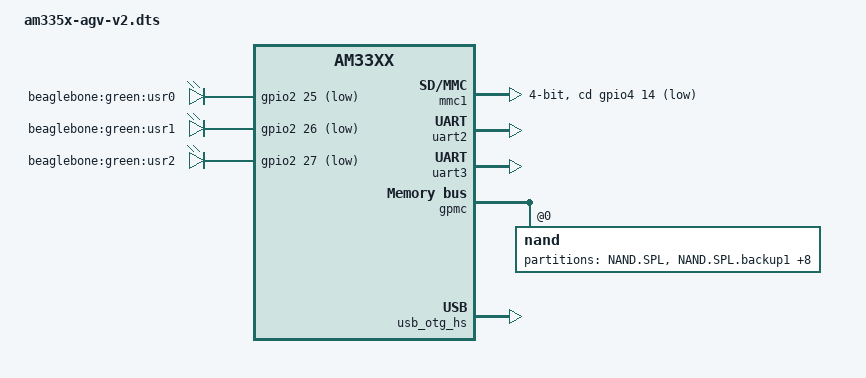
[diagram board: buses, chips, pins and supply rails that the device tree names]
/*
 * Copyright (C) 2012 Texas Instruments Incorporated - http://www.ti.com/
 *
 * This program is free software; you can redistribute it and/or modify
 * it under the terms of the GNU General Public License version 2 as
 * published by the Free Software Foundation.
 */
/dts-v1/;

/include/ "am33xx.dtsi"

/include/ "am335x-agv-common.dtsi"

&cpu {
	/*
	 * To consider voltage drop between PMIC and SoC,
	 * tolerance value is reduced to 2% from 4% and
	 * voltage value is increased as a precaution.
	 */
	operating-points = <
		/* kHz    uV */
		800000	1300000
		600000  1112000
		300000   969000
	>;
};

&i2c2 {
	status = "disabled";
};

&am33xx_pinmux {
	userled_pins: pinmux_userled_pins {
		pinctrl-single,pins = <
			0x64 0x7	/* GPMC_A9 GPIO1[25], OUTPUT | MODE7 */
			0x68 0x7	/* GPMC_A10 GPIO1[26], OUTPUT | MODE7 */
			0x6C 0x7	/* GPMC_A11 GPIO1[27], OUTPUT | MODE7 */
		>;
	};
	gpmc_pins: pinmux_gpmc_pins {
		pinctrl-single,pins = <
			0x0	0x30	/* gpmc_ad0.gpmc_ad0 */
			0x4	0x30	/* gpmc_ad1.gpmc_ad1 */
			0x8	0x30	/* gpmc_ad2.gpmc_ad2 */
			0xc	0x30	/* gpmc_ad3.gpmc_ad3 */
			0x10	0x30	/* gpmc_ad4.gpmc_ad4 */
			0x14	0x30	/* gpmc_ad5.gpmc_ad5 */
			0x18	0x30	/* gpmc_ad6.gpmc_ad6 */
			0x1c	0x30	/* gpmc_ad7.gpmc_ad7 */
			0x70	0x30	/* gpmc_wait0.gpmc_wait0 */
			/* 0x74	0x37 */	/* gpmc_wpn.gpio0_30 */
			0x7c	0x10	/* gpmc_csn0.gpmc_csn0  */
			0x90	0x10	/* gpmc_advn_ale.gpmc_advn_ale */
			0x94	0x10	/* gpmc_oen_ren.gpmc_oen_ren */
			0x98	0x10	/* gpmc_wen.gpmc_wen */
			0x9c	0x10	/* gpmc_be0n_cle.gpmc_be0n_cle */
		>;
	};
	mmc1_pins: pinmux_mmc1_pins {
		pinctrl-single,pins = <
			0x190 0x2f /* GPIO3_14 (PIN_INPUT | MUX_MODE7) */
		>;
	};
	uart2_pins: pinmux_uart2_pins {
		pinctrl-single,pins = <
			0x180 0x30	/* uart1_rxd, MODE0 | PULLUP_EN | RXACTIVE */
			0x184 0x0	/* uart1_txd, MODE0 */
		>;
	};
	uart3_pins: pinmux_uart3_pins {
		pinctrl-single,pins = <
			0x150 0x31	/* spi0_clk, MODE1 | PULLUP_EN | RXACTIVE */
			0x154 0x01	/* spi0_d0, MODE1 */
		>;
	};
	gpio_helper_pins: pinmux_gpio_helper_pins {
		pinctrl-single,pins = <
			0x60 0x7	/* GPMC_A8 GPIO1[24], OUTPUT | MODE7 --> USER LED */
			0x1ac 0x17	/* mcasp0_ahclkx GPIO3[21], OUTPUT_PULLUP | MODE7 --> UART5_DE */
			0x1a0 0x17	/* mcasp0_aclkr GPIO3[18], OUTPUT_PULLUP | MODE7 --> UART3_DE */
			0x1A8 0x17	/* mcasp0_axr1 GPIO3[20], OUTPUT_PULLUP | MODE7 --> FAN_PWR */
			/*0x19C 0x17	 mcasp0_ahclkr GPIO3[17], OUTPUT_PULLUP | MODE7 --> JL098_RST */
			/*0x1A8 0x17	 mcasp0_axr0 GPIO3[20],  | MODE7 --> JL098_INT */
		>;
	};
};

&ocp {
	gpio-leds {
		compatible = "gpio-leds";
		pinctrl-names = "default";
		pinctrl-0 = <&userled_pins>;

		led0 {
			label = "beaglebone:green:usr0";
			gpios = <&gpio2 25 1>;
			linux,default-trigger = "heartbeat";
			default-state = "off";
		};

		led1 {
			label = "beaglebone:green:usr1";
			gpios = <&gpio2 26 1>;
			linux,default-trigger = "mmc0";
			default-state = "off";
		};

		led2 {
			label = "beaglebone:green:usr2";
			gpios = <&gpio2 27 1>;
			linux,default-trigger = "cpu0";
			default-state = "off";
		};

/*		led3 {
			label = "beaglebone:green:usr3";
			gpios = <&gpio2 27 1>;
			default-state = "off";
			linux,default-trigger = "mmc1";
		};*/
	};

	gpio_helper {
		compatible = "gpio-of-helper";
		status = "okay";
		pinctrl-names = "default";
		pinctrl-0 = <&gpio_helper_pins>;

		/* declare your gpios */
		test_led {
			gpio-name = "test_led";
			gpio = <&gpio2 24 0x00>;	/* gpio2 is gpio1, active_low = 0 */
			output;
			init-high;
		};
		fan_power_en {
			gpio-name = "fan_power_en";
			gpio = <&gpio4 20 0x00>;		/* gpio4 is gpio3, active_low = 0 */
			output;
			init-low;
		};
		uart3_de {
			gpio-name = "uart3_de";
			gpio = <&gpio4 18 0x00>;		/* gpio4 is gpio3, active_low = 0 */
			output;
			init-low;
		};
	};
};

&cpsw_emac0 {
	phy_id = <&davinci_mdio>, <0>;
};

&cpsw_emac1 {
	phy_id = <&davinci_mdio>, <1>;
};

&mmc1 {
	pinctrl-names = "default";
	pinctrl-0 = <&mmc1_pins>;
	bus-width = <0x4>;
	cd-gpios = <&gpio4 14 0>; /* gpio3 is misnamed, 0 == GPIO_ACTIVE_HIGH */
	cd-inverted;
	status = "okay";
	/* vmmc-supply = <&ldo4_reg>; */
	ti,vcc-aux-disable-is-sleep;
};

&uart2 {
	pinctrl-names = "default";
	pinctrl-0 = <&uart2_pins>;
	status = "okay";
};

&uart3 {
	pinctrl-names = "default";
	pinctrl-0 = <&uart3_pins>;
	status = "okay";
};

&gpmc {
	status = "okay";
	pinctrl-names = "default";
	pinctrl-0 = <&gpmc_pins>;
	ranges = <0 0 0x08000000 0x1000000>;	/* CS0: 16MB for NAND */
	nand@0,0 {
		reg = <0 0 0>;		/* CS0, offset 0 */
		ti,nand-ecc-opt = "bch8";
		/* ti,elm-id = <&elm>; */	/* unsupport */
		nand-bus-width = <8>;
		gpmc,device-width = <1>;
		gpmc,sync-clk-ps = <0>;		/* timings */
		gpmc,cs-on-ns = <0>;
		gpmc,cs-rd-off-ns = <170>;
		gpmc,cs-wr-off-ns = <170>;
		gpmc,adv-on-ns = <50>;
		gpmc,adv-rd-off-ns = <120>;
		gpmc,adv-wr-off-ns = <120>;
		gpmc,we-on-ns = <0>;
		gpmc,we-off-ns = <90>;
		gpmc,oe-on-ns = <0>;
		gpmc,oe-off-ns = <90>;
		gpmc,access-ns = <90>;
		gpmc,rd-cycle-ns = <150>;
		gpmc,wr-cycle-ns = <150>;
		gpmc,wait-on-read = "true";
		gpmc,wait-on-write = "true";
		/* gpmc,wait-pin = <0>; */
		gpmc,bus-turnaround-ns = <0>;
		gpmc,cycle2cycle-delay-ns = <0>;
		gpmc,clk-activation-ns = <0>;
		gpmc,wait-monitoring-ns = <0>;
		gpmc,wr-access-ns = <100>;
		gpmc,wr-data-mux-bus-ns = <0>;
		gpmc,device-nand = "true";
		/* MTD partition table */
		/* All SPL-* partitions are sized to minimal length
		 * which can be independently programmable. For
		 * NAND flash this is equal to size of erase-block */
		#address-cells = <1>;
		#size-cells = <1>;
		partition@0 {
			label = "NAND.SPL";
			reg = <0x00000000 0x000020000>;		/* offset, size */
		};
		partition@1 {
			label = "NAND.SPL.backup1";
			reg = <0x00020000 0x00020000>;
		};
		partition@2 {
			label = "NAND.SPL.backup2";
			reg = <0x00040000 0x00020000>;
		};
		partition@3 {
			label = "NAND.SPL.backup3";
			reg = <0x00060000 0x00020000>;
		};
		partition@4 {
			label = "NAND.u-boot-spl-os";
			reg = <0x00080000 0x00040000>;
		};
		partition@5 {
			label = "NAND.u-boot";
			reg = <0x000C0000 0x00100000>;
		};
		partition@6 {
			label = "NAND.u-boot-env";
			reg = <0x001C0000 0x00020000>;
		};
		partition@7 {
			label = "NAND.u-boot-env.backup1";
			reg = <0x001E0000 0x00020000>;
		};
		partition@8 {
			label = "NAND.kernel";
			reg = <0x00200000 0x00800000>;
		};
		partition@9 {
			label = "NAND.file-system";
			reg = <0x00A00000 0x0F600000>;
		};
	};
};

&usb_otg_hs {
	interface_type = <1>;
	power = <250>;
	port0-mode = <1>;
	port1-mode = <1>;
	status = "okay";
};
